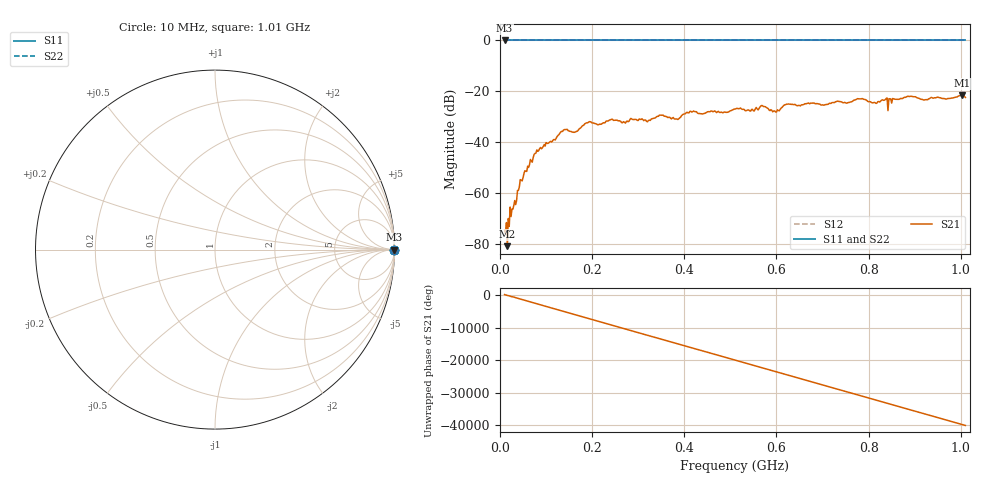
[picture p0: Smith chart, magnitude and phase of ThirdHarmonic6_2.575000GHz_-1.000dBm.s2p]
! 8/17/2025 5:25:04 AM
! C:\ANRITSUVNA\TEMP\TEMP.S2P
! CHANNEL.1
! TR.MEASUREMENT
! RAW.DATA
! RF.CORRECTION.OFF
! AVERAGING.OFF
! IF.BANDWIDTH: 5KHZ
! SWEEPTYPE:  FREQ.SWEEP(Linear)
! Reference Plane Port Info
! PORT:  PORT1  PORT2
! DISTANCE:  0  m  0  m
! TIME:  0  s  0  s
! PHASE.OFFSET:  0  deg.  0  deg.
! LOSS:  0  dB  0  dB
! REF.LOSS:  0  dB  0  dB
! REF.FREQ:  0  Hz  0  Hz
! Power Info
! POWER:  -20  dBm  -20  dBm
! EFF.POWER:  -20  dBm  -20  dBm
! SOURCE.ATTEN:  0  dB  0  dB
! TEST.ATTEN:  0  dB  0  dB
# GHZ S RI R 50.0
! FREQ.GHZ  S11RE  S11IM  S21RE  S21IM  S12RE  S12IM  S22RE  S22IM
!; PortSelection: Port_12
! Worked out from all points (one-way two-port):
!   501 points, 10 MHz to 1.01 GHz, reference 50 ohm
!   highest |S21| = -21.63 dB at 1.002 GHz (marker M1); lowest = -81.0 dB at 16 MHz (marker M2)
!   lowest |S11| = 0.0 dB at 10 MHz (marker M3)
!   |S11| at or under -10 dB: nowhere
!   |S22| runs from 0.0 to 0.0 dB; largest |S21 - S12| = 1.1
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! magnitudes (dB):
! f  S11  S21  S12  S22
! 10 MHz  0.0  -74.6  0.0  0.0
! 16 MHz  0.0  -81.0  0.0  0.0
! 22 MHz  0.0  -65.6  0.0  0.0
! 32 MHz  0.0  -63.0  0.0  0.0
! 42 MHz  0.0  -57.6  0.0  0.0
! 76 MHz  0.0  -44.5  0.0  0.0
! 136 MHz  0.0  -35.8  0.0  0.0
! 164 MHz  0.0  -36.0  0.0  0.0
! 178 MHz  0.0  -33.7  0.0  0.0
! 240 MHz  0.0  -31.2  0.0  0.0
! 322 MHz  0.0  -31.5  0.0  0.0
! 344 MHz  0.0  -29.8  0.0  0.0
! 384 MHz  0.0  -30.9  0.0  0.0
! 416 MHz  0.0  -28.2  0.0  0.0
! 510 MHz  0.0  -27.0  0.0  0.0
! 570 MHz  0.0  -25.7  0.0  0.0
! 596 MHz  0.0  -27.7  0.0  0.0
! 622 MHz  0.0  -25.1  0.0  0.0
! 678 MHz  0.0  -24.7  0.0  0.0
! 844 MHz  0.0  -22.9  0.0  0.0
! 1.002 GHz  0.0  -21.6  0.0  0.0
! 1.01 GHz  0.0  -22.4  0.0  0.0
